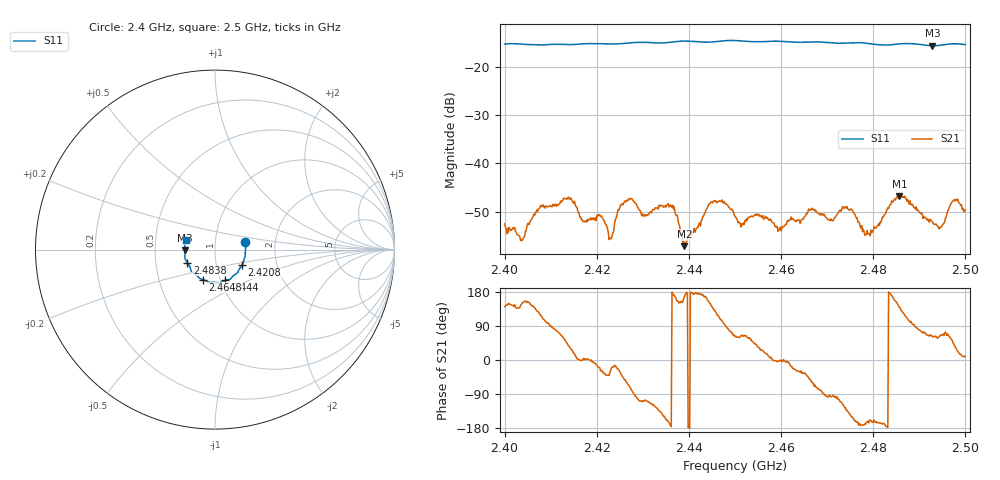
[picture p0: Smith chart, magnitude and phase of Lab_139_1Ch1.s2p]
# Hz S RI R 50
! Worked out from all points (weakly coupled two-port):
!   601 points, 2.4 GHz to 2.5 GHz, reference 50 ohm
!   highest |S21| = -46.79 dB at 2.4857 GHz (marker M1); lowest = -57.2 dB at 2.439 GHz (marker M2)
!   lowest |S11| = -15.6 dB at 2.4928 GHz (marker M3), VSWR 1.40, Z = 35.8 - j0.354 ohm
!   |S11| at or under -10 dB: start of sweep to end of sweep
!   S12 and S22 are empty: the file has one direction only
!   S11 on the Smith chart (normalised r, x): 2.4 GHz: 1.40, +0.12; 2.4208 GHz: 1.33, -0.24; 2.444 GHz: 1.06, -0.37; 2.4648 GHz: 0.83, -0.29; 2.4838 GHz: 0.73, -0.11; 2.5 GHz: 0.72, +0.08
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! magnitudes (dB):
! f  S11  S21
! 2.4 GHz  -15.3  -52.5
! 2.4038 GHz  -15.3  -56.0
! 2.4078 GHz  -15.4  -48.7
! 2.4133 GHz  -15.3  -47.3
! 2.4167 GHz  -15.2  -51.6
! 2.4208 GHz  -15.2  -51.0
! 2.423 GHz  -15.2  -55.6
! 2.4267 GHz  -15.1  -47.6
! 2.4333 GHz  -15.0  -49.5
! 2.4365 GHz  -14.8  -48.7
! 2.439 GHz  -14.6  -57.2
! 2.444 GHz  -14.9  -49.2
! 2.45 GHz  -14.5  -51.0
! 2.4648 GHz  -14.9  -51.6
! 2.4667 GHz  -14.8  -49.3
! 2.4748 GHz  -15.0  -49.7
! 2.4788 GHz  -15.1  -54.6
! 2.4833 GHz  -15.5  -49.4
! 2.4838 GHz  -15.4  -48.5
! 2.4857 GHz  -15.2  -46.8
! 2.4928 GHz  -15.6  -52.1
! 2.5 GHz  -15.4  -49.6
